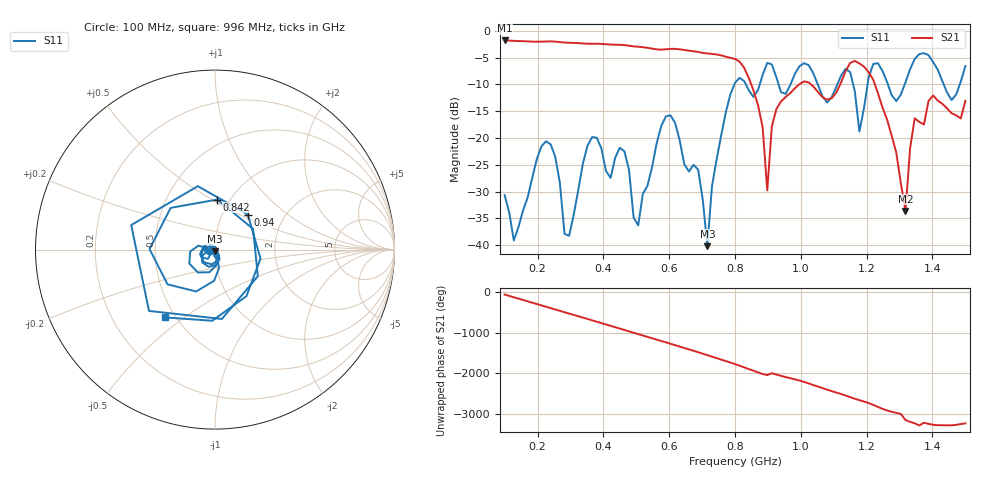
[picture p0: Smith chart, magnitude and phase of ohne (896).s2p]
! NanoVNA-App
! Date: 2025-09-25 14:27:46
! Start: 100MHz Stop: 1,5GHz Points: 101
! S-Parameter data: F S11 S21 S12 S22
# Hz S RI R 50
!  Frequency  S11_Real  S11_Imag  S21_Real  S21_Imag  S12_Real  S12_Imag  S22_Real  S22_Imag
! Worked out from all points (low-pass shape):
!   101 points, 100 MHz to 1.5 GHz, reference 50 ohm
!   highest |S21| = -1.79 dB at 100 MHz (marker M1); lowest = -33.6 dB at 1.318 GHz (marker M2)
!   |S21| within 3 dB of the highest: start of sweep to 770.5 MHz
!   lowest |S11| = -40.2 dB at 716 MHz (marker M3), VSWR 1.02, Z = 49.8 - j0.952 ohm
!   |S11| at or under -10 dB: start of sweep to 798 MHz; 833.1 MHz to 875.1 MHz (42.06 MHz wide, 4.92 % of centre); 1.051 GHz to 1.111 GHz (59.61 MHz wide, 5.51 % of centre) (the widest 3 of 7)
!   S12 and S22 are empty: the file has one direction only
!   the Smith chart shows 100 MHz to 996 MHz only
!   S11 on the Smith chart (normalised r, x): 100 MHz: 0.94, -0.01; 842 MHz: 0.88, +0.53; 940 MHz: 1.31, +0.55; 996 MHz: 0.44, -0.43
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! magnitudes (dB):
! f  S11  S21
! 100 MHz  -30.6  -1.8
! 128 MHz  -39.1  -1.9
! 226 MHz  -20.6  -2.0
! 296 MHz  -38.2  -2.2
! 338 MHz  -24.7  -2.3
! 464 MHz  -22.5  -2.7
! 506 MHz  -36.3  -3.0
! 576 MHz  -17.7  -3.5
! 688 MHz  -25.9  -3.9
! 716 MHz  -40.2  -4.2
! 800 MHz  -9.7  -5.3
! 842 MHz  -11.1  -8.8
! 898 MHz  -6.0  -29.8
! 940 MHz  -11.5  -13.2
! 996 MHz  -6.6  -9.9
! 1.038 GHz  -7.9  -10.4
! 1.178 GHz  -18.8  -6.1
! 1.22 GHz  -6.2  -9.1
! 1.276 GHz  -12.0  -19.6
! 1.318 GHz  -9.6  -33.6
! 1.346 GHz  -5.2  -16.3
! 1.5 GHz  -6.6  -13.1
